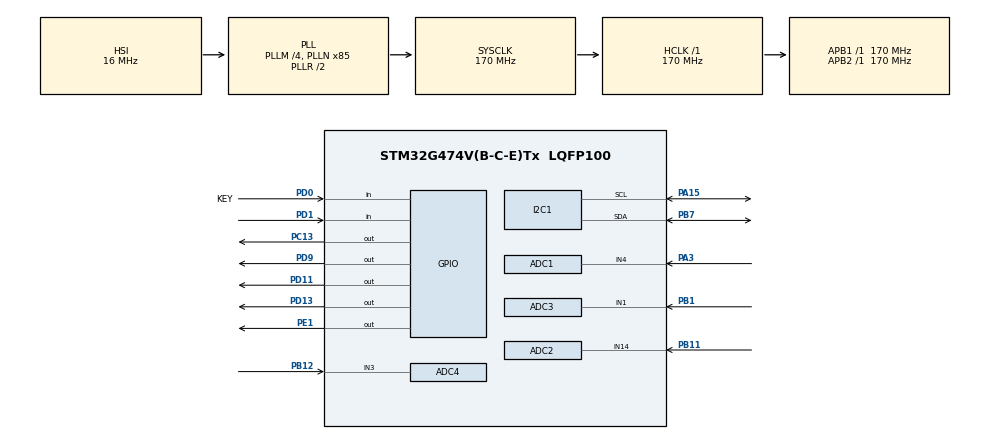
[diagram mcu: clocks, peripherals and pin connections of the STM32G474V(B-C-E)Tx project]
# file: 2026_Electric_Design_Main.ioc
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ADC1.Channel-0\#ChannelRegularConversion=ADC_CHANNEL_4
ADC1.ContinuousConvMode=DISABLE
ADC1.DMAContinuousRequests=ENABLE
ADC1.NbrOfConversionFlag=1
ADC1.OffsetNumber-0\#ChannelRegularConversion=ADC_OFFSET_NONE
ADC1.Rank-0\#ChannelRegularConversion=1
ADC1.SamplingTime-0\#ChannelRegularConversion=ADC_SAMPLETIME_2CYCLES_5
ADC1.master=1
ADC2.Channel-0\#ChannelRegularConversion=ADC_CHANNEL_14
ADC2.ContinuousConvMode=DISABLE
ADC2.DMAContinuousRequests=ENABLE
ADC2.NbrOfConversionFlag=1
ADC2.OffsetNumber-0\#ChannelRegularConversion=ADC_OFFSET_NONE
ADC2.Rank-0\#ChannelRegularConversion=1
ADC2.SamplingTime-0\#ChannelRegularConversion=ADC_SAMPLETIME_2CYCLES_5
ADC3.Channel-0\#ChannelRegularConversion=ADC_CHANNEL_1
ADC3.ContinuousConvMode=DISABLE
ADC3.DMAContinuousRequests=ENABLE
ADC3.NbrOfConversionFlag=1
ADC3.OffsetNumber-0\#ChannelRegularConversion=ADC_OFFSET_NONE
ADC3.Rank-0\#ChannelRegularConversion=1
ADC3.SamplingTime-0\#ChannelRegularConversion=ADC_SAMPLETIME_2CYCLES_5
ADC3.master=1
ADC4.Channel-0\#ChannelRegularConversion=ADC_CHANNEL_3
ADC4.DMAContinuousRequests=ENABLE
ADC4.NbrOfConversionFlag=1
ADC4.OffsetNumber-0\#ChannelRegularConversion=ADC_OFFSET_NONE
ADC4.Rank-0\#ChannelRegularConversion=1
ADC4.SamplingTime-0\#ChannelRegularConversion=ADC_SAMPLETIME_2CYCLES_5
Dma.ADC1.0.Direction=DMA_PERIPH_TO_MEMORY
Dma.ADC1.0.EventEnable=DISABLE
Dma.ADC1.0.Instance=DMA1_Channel1
Dma.ADC1.0.MemDataAlignment=DMA_MDATAALIGN_HALFWORD
Dma.ADC1.0.MemInc=DMA_MINC_ENABLE
Dma.ADC1.0.Mode=DMA_CIRCULAR
Dma.ADC1.0.PeriphDataAlignment=DMA_PDATAALIGN_HALFWORD
Dma.ADC1.0.PeriphInc=DMA_PINC_DISABLE
Dma.ADC1.0.Polarity=HAL_DMAMUX_REQ_GEN_RISING
Dma.ADC1.0.Priority=DMA_PRIORITY_LOW
Dma.ADC1.0.RequestNumber=1
Dma.ADC1.0.SignalID=NONE
Dma.ADC1.0.SyncEnable=DISABLE
Dma.ADC1.0.SyncPolarity=HAL_DMAMUX_SYNC_NO_EVENT
Dma.ADC1.0.SyncRequestNumber=1
Dma.ADC1.0.SyncSignalID=NONE
Dma.ADC2.1.Direction=DMA_PERIPH_TO_MEMORY
Dma.ADC2.1.EventEnable=DISABLE
Dma.ADC2.1.Instance=DMA1_Channel2
Dma.ADC2.1.MemDataAlignment=DMA_MDATAALIGN_HALFWORD
Dma.ADC2.1.MemInc=DMA_MINC_ENABLE
Dma.ADC2.1.Mode=DMA_CIRCULAR
Dma.ADC2.1.PeriphDataAlignment=DMA_PDATAALIGN_HALFWORD
Dma.ADC2.1.PeriphInc=DMA_PINC_DISABLE
Dma.ADC2.1.Polarity=HAL_DMAMUX_REQ_GEN_RISING
Dma.ADC2.1.Priority=DMA_PRIORITY_LOW
Dma.ADC2.1.RequestNumber=1
Dma.ADC2.1.SignalID=NONE
Dma.ADC2.1.SyncEnable=DISABLE
Dma.ADC2.1.SyncPolarity=HAL_DMAMUX_SYNC_NO_EVENT
Dma.ADC2.1.SyncRequestNumber=1
Dma.ADC2.1.SyncSignalID=NONE
Dma.ADC3.2.Direction=DMA_PERIPH_TO_MEMORY
Dma.ADC3.2.EventEnable=DISABLE
Dma.ADC3.2.Instance=DMA1_Channel3
Dma.ADC3.2.MemDataAlignment=DMA_MDATAALIGN_HALFWORD
Dma.ADC3.2.MemInc=DMA_MINC_ENABLE
Dma.ADC3.2.Mode=DMA_CIRCULAR
Dma.ADC3.2.PeriphDataAlignment=DMA_PDATAALIGN_HALFWORD
Dma.ADC3.2.PeriphInc=DMA_PINC_DISABLE
Dma.ADC3.2.Polarity=HAL_DMAMUX_REQ_GEN_RISING
Dma.ADC3.2.Priority=DMA_PRIORITY_LOW
Dma.ADC3.2.RequestNumber=1
Dma.ADC3.2.SignalID=NONE
Dma.ADC3.2.SyncEnable=DISABLE
Dma.ADC3.2.SyncPolarity=HAL_DMAMUX_SYNC_NO_EVENT
Dma.ADC3.2.SyncRequestNumber=1
Dma.ADC3.2.SyncSignalID=NONE
Dma.ADC4.3.Direction=DMA_PERIPH_TO_MEMORY
Dma.ADC4.3.EventEnable=DISABLE
Dma.ADC4.3.Instance=DMA1_Channel4
Dma.ADC4.3.MemDataAlignment=DMA_MDATAALIGN_HALFWORD
Dma.ADC4.3.MemInc=DMA_MINC_ENABLE
Dma.ADC4.3.Mode=DMA_CIRCULAR
Dma.ADC4.3.PeriphDataAlignment=DMA_PDATAALIGN_HALFWORD
Dma.ADC4.3.PeriphInc=DMA_PINC_DISABLE
Dma.ADC4.3.Polarity=HAL_DMAMUX_REQ_GEN_RISING
Dma.ADC4.3.Priority=DMA_PRIORITY_LOW
Dma.ADC4.3.RequestNumber=1
Dma.ADC4.3.SignalID=NONE
Dma.ADC4.3.SyncEnable=DISABLE
Dma.ADC4.3.SyncPolarity=HAL_DMAMUX_SYNC_NO_EVENT
Dma.ADC4.3.SyncRequestNumber=1
Dma.ADC4.3.SyncSignalID=NONE
Dma.Request0=ADC1
Dma.Request1=ADC2
Dma.Request2=ADC3
Dma.Request3=ADC4
FREERTOS.Tasks01=defaultTask,0,128,StartDefaultTask,Default,NULL,Dynamic,NULL,NULL;Key,-3,128,Key_Scan,Default,NULL,Dynamic,NULL,NULL;Data_Fuction,-3,128,Data,Default,NULL,Dynamic,NULL,NULL
I2C1.Timing=0x40B285C2
Mcu.Family=STM32G4
Mcu.Name=STM32G474V(B-C-E)Tx
Mcu.Package=LQFP100
NVIC.DMA1_Channel1_IRQn=true\:5\:0\:false\:false\:true\:true\:false\:true\:true
NVIC.DMA1_Channel2_IRQn=true\:5\:0\:false\:false\:true\:true\:false\:true\:true
NVIC.DMA1_Channel3_IRQn=true\:5\:0\:false\:false\:true\:true\:false\:true\:true
NVIC.DMA1_Channel4_IRQn=true\:5\:0\:false\:false\:true\:true\:false\:true\:true
NVIC.PriorityGroup=NVIC_PRIORITYGROUP_4
NVIC.TIM1_UP_TIM16_IRQn=true\:15\:0\:false\:false\:true\:false\:false\:true\:true
NVIC.TimeBase=TIM1_UP_TIM16_IRQn
NVIC.TimeBaseIP=TIM1
PA13.Mode=Serial_Wire
PA13.Signal=SYS_JTMS-SWDIO
PA14.Mode=Serial_Wire
PA14.Signal=SYS_JTCK-SWCLK
PA15.Mode=I2C
PA15.Signal=I2C1_SCL
PA3.Mode=IN4-Single-Ended
PA3.Signal=ADC1_IN4
PB1.Mode=IN1-Single-Ended
PB1.Signal=ADC3_IN1
PB11.Mode=IN14-Single-Ended
PB11.Signal=ADC2_IN14
PB12.Mode=IN3-Single-Ended
PB12.Signal=ADC4_IN3
PB7.Mode=I2C
PB7.Signal=I2C1_SDA
PC13.Signal=GPIO_Output
PD0.GPIO_Label=KEY
PD0.Signal=GPIO_Input
PD1.Signal=GPIO_Input
PD11.Signal=GPIO_Output
PD13.Signal=GPIO_Output
PD9.Signal=GPIO_Output
PE1.Signal=GPIO_Output
PF0-OSC_IN.Mode=HSE-External-Oscillator
PF0-OSC_IN.Signal=RCC_OSC_IN
PF1-OSC_OUT.Mode=HSE-External-Oscillator
PF1-OSC_OUT.Signal=RCC_OSC_OUT
ProjectManager.HeapSize=0x200
ProjectManager.StackSize=0x400
ProjectManager.TargetToolchain=EWARM V8.50
RCC.ADC12Freq_Value=170000000
RCC.ADC345Freq_Value=170000000
RCC.AHBFreq_Value=170000000
RCC.APB1Freq_Value=170000000
RCC.APB1TimFreq_Value=170000000
RCC.APB2Freq_Value=170000000
RCC.APB2TimFreq_Value=170000000
RCC.CortexFreq_Value=170000000
RCC.EXTERNAL_CLOCK_VALUE=12288000
RCC.HCLKFreq_Value=170000000
RCC.HSE_VALUE=8000000
RCC.HSI48_VALUE=48000000
RCC.HSI_VALUE=16000000
RCC.LSE_VALUE=32768
RCC.PLLM=RCC_PLLM_DIV4
RCC.PLLN=85
RCC.SYSCLKFreq_VALUE=170000000
RCC.SYSCLKSource=RCC_SYSCLKSOURCE_PLLCLK
RCC.USBFreq_Value=170000000
RCC.VCOOutputFreq_Value=340000000
VP_FREERTOS_VS_CMSIS_V1.Mode=CMSIS_V1
VP_SYS_VS_DBSignals.Mode=DisableDeadBatterySignals
VP_SYS_VS_tim1.Mode=TIM1
board=custom

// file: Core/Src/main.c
/* USER CODE BEGIN Header */
/**
  ******************************************************************************
  * @file           : main.c
  * @brief          : Main program body
  ******************************************************************************
  * @attention
  *
  * Copyright (c) 2026 STMicroelectronics.
  * All rights reserved.
  *
  * This software is licensed under terms that can be found in the LICENSE file
  * in the root directory of this software component.
  * If no LICENSE file comes with this software, it is provided AS-IS.
  *
  ******************************************************************************
  */
/* USER CODE END Header */
#include "main.h"
#include "cmsis_os.h"
#include "adc.h"
#include "dma.h"
#include "i2c.h"
#include "gpio.h"

/* USER CODE BEGIN Includes */
#include "oled.h"
#include "user.h"
/* USER CODE END Includes */

/* USER CODE BEGIN PV */
uint8_t mode = 0;
uint8_t v_mode = 0;
uint8_t r_mode = 0;

uint32_t v20 = 0;
float v20_true = 0;
uint32_t v20_sum = 0;

float v2_true = 0;
uint32_t v2 = 0;
uint32_t v2_sum = 0;

uint8_t start = 0;

uint32_t r = 0;
uint32_t r_sum = 0;
float r_true = 0;

float two_true = 0;
uint32_t two = 0;
uint32_t two_sum = 0;

uint32_t v20_AC[1000] = {0};
uint32_t v2_AC[1000] = {0};

/* USER CODE END PV */

void SystemClock_Config(void);
void MX_FREERTOS_Init(void);

int main(void)
{

  /* MCU Configuration--------------------------------------------------------*/

  /* Reset of all peripherals, Initializes the Flash interface and the Systick. */
  HAL_Init();

  /* Configure the system clock */
  SystemClock_Config();

  /* Initialize all configured peripherals */
  MX_GPIO_Init();
  MX_DMA_Init();
  MX_ADC1_Init();
  MX_ADC2_Init();
  MX_ADC3_Init();
  MX_ADC4_Init();
  MX_I2C1_Init();
  /* USER CODE BEGIN 2 */

  // while(!start){
  //   start = HAL_GPIO_ReadPin(GPIOD, GPIO_PIN_1);
  // }

  OLED_Init();

  OLED_Clear();
  OLED_ColorTurn(1);

  OLED_ShowChinese(0, 0, 35, 16);
  OLED_ShowChinese(17, 0, 36, 16);
  OLED_ShowChinese(34, 0, 37, 16);
  OLED_ShowChinese(51, 0, 38, 16);
  OLED_ShowChinese(68, 0, 39, 16);
  OLED_Refresh_Gram();
  OLED_ShowChinese(0, 40, 33, 16);
  OLED_ShowChinese(17, 40, 34, 16);
  show_int(38,40,25251116,16);
  OLED_Refresh_Gram();

  HAL_Delay(2000);
  OLED_Clear();
  Mode_show();

  HAL_GPIO_WritePin(GPIOE, GPIO_PIN_1,0);

  HAL_Delay(100);
  // //HAL_GPIO_WritePin(GPIOC, GPIO_PIN_13,1); // 切换成20V档

  /* USER CODE END 2 */

  /* Call init function for freertos objects (in cmsis_os2.c) */
  MX_FREERTOS_Init();

  /* Start scheduler */
  osKernelStart();

  /* We should never get here as control is now taken by the scheduler */

  /* Infinite loop */
  while (1)
  {

  }
}

void SystemClock_Config(void)
{
  RCC_OscInitTypeDef RCC_OscInitStruct = {0};
  RCC_ClkInitTypeDef RCC_ClkInitStruct = {0};

  /** Configure the main internal regulator output voltage
  */
  HAL_PWREx_ControlVoltageScaling(PWR_REGULATOR_VOLTAGE_SCALE1_BOOST);

  /** Initializes the RCC Oscillators according to the specified parameters
  * in the RCC_OscInitTypeDef structure.
  */
  RCC_OscInitStruct.OscillatorType = RCC_OSCILLATORTYPE_HSI;
  RCC_OscInitStruct.HSIState = RCC_HSI_ON;
  RCC_OscInitStruct.HSICalibrationValue = RCC_HSICALIBRATION_DEFAULT;
  RCC_OscInitStruct.PLL.PLLState = RCC_PLL_ON;
  RCC_OscInitStruct.PLL.PLLSource = RCC_PLLSOURCE_HSI;
  RCC_OscInitStruct.PLL.PLLM = RCC_PLLM_DIV4;
  RCC_OscInitStruct.PLL.PLLN = 85;
  RCC_OscInitStruct.PLL.PLLP = RCC_PLLP_DIV2;
  RCC_OscInitStruct.PLL.PLLQ = RCC_PLLQ_DIV2;
  RCC_OscInitStruct.PLL.PLLR = RCC_PLLR_DIV2;
  if (HAL_RCC_OscConfig(&RCC_OscInitStruct) != HAL_OK)
  {
    Error_Handler();
  }

  /** Initializes the CPU, AHB and APB buses clocks
  */
  RCC_ClkInitStruct.ClockType = RCC_CLOCKTYPE_HCLK|RCC_CLOCKTYPE_SYSCLK
                              |RCC_CLOCKTYPE_PCLK1|RCC_CLOCKTYPE_PCLK2;
  RCC_ClkInitStruct.SYSCLKSource = RCC_SYSCLKSOURCE_PLLCLK;
  RCC_ClkInitStruct.AHBCLKDivider = RCC_SYSCLK_DIV1;
  RCC_ClkInitStruct.APB1CLKDivider = RCC_HCLK_DIV1;
  RCC_ClkInitStruct.APB2CLKDivider = RCC_HCLK_DIV1;

  if (HAL_RCC_ClockConfig(&RCC_ClkInitStruct, FLASH_LATENCY_4) != HAL_OK)
  {
    Error_Handler();
  }
}

void HAL_TIM_PeriodElapsedCallback(TIM_HandleTypeDef *htim)
{
  if (htim->Instance == TIM1)
  {
    HAL_IncTick();
  }
}

void Error_Handler(void)
{
  __disable_irq();
  while (1)
  {
  }
}

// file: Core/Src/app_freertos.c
/* USER CODE BEGIN Header */
/**
  ******************************************************************************
  * File Name          : app_freertos.c
  * Description        : Code for freertos applications
  ******************************************************************************
  * @attention
  *
  * Copyright (c) 2026 STMicroelectronics.
  * All rights reserved.
  *
  * This software is licensed under terms that can be found in the LICENSE file
  * in the root directory of this software component.
  * If no LICENSE file comes with this software, it is provided AS-IS.
  *
  ******************************************************************************
  */
/* USER CODE END Header */

#include "FreeRTOS.h"
#include "task.h"
#include "main.h"
#include "cmsis_os.h"

/* USER CODE BEGIN Includes */
#include "user.h"
#include "adc.h"
#include "oled.h"
#include "math.h"
/* USER CODE END Includes */

/* USER CODE BEGIN PM */
uint32_t key_time = 0;
KeyState_t key_state = KEY_IDLE;
uint8_t current_key;
uint32_t e = 0;
uint32_t y = 0;
uint32_t x = 0;
uint32_t l =0;
uint32_t g = 0;
float Rk_table[4] = {100.0f, 1000.0f, 10000.0f, 100000.0f};
uint64_t sum = 0;
int32_t temp;
double adc_rms;
/* USER CODE END PM */

osThreadId defaultTaskHandle;
osThreadId KeyHandle;
osThreadId Data_FuctionHandle;

void StartDefaultTask(void const * argument);
void Key_Scan(void const * argument);
void Data(void const * argument);

void MX_FREERTOS_Init(void); /* (MISRA C 2004 rule 8.1) */

void MX_FREERTOS_Init(void) {

  /* Create the thread(s) */
  /* definition and creation of defaultTask */
  osThreadDef(defaultTask, StartDefaultTask, osPriorityNormal, 0, 128);
  defaultTaskHandle = osThreadCreate(osThread(defaultTask), NULL);

  /* definition and creation of Key */
  osThreadDef(Key, Key_Scan, osPriorityIdle, 0, 128);
  KeyHandle = osThreadCreate(osThread(Key), NULL);

  /* definition and creation of Data_Fuction */
  osThreadDef(Data_Fuction, Data, osPriorityIdle, 0, 128);
  Data_FuctionHandle = osThreadCreate(osThread(Data_Fuction), NULL);

}

void StartDefaultTask(void const * argument)
{
  for(;;)
  {
    osDelay(1);
  }
}

void Key_Scan(void const * argument)
{
  /* USER CODE BEGIN Key_Scan */
  /* Infinite loop */
  for(;;)
  {
    uint8_t key_flag = 0;//没有按键变化

    static uint8_t last_key = 0;   // 默认上拉输入，1=松开

    uint32_t now = HAL_GetTick();

    current_key = HAL_GPIO_ReadPin(KEY_GPIO_Port, KEY_Pin);

    switch(key_state)
    {
        case KEY_IDLE:
            // 检测按下瞬间
            if(current_key == 1 && last_key == 0)
            {
                key_time = now;          // 记录按下时间
                key_state = KEY_PRESS;   // 进入按下状态
            }
            break;

        case KEY_PRESS:
            // 消抖
            if(now - key_time < DEBOUNCE_TIME)
                break;

            if(current_key == 1)
            {
              // 判断是否达到长按时间
              if(now - key_time >= LONG_PRESS_TIME)
              {
                  if(mode == 4)
                  {
                    mode = 0;
                  }
                  else
                  {
                    mode++;
                  }
                  // 长按动作
                  key_flag = 1;
                  key_state = KEY_LONG;
              }
            }
            else
            {
                // 松开，并且未达到长按
              if(mode == 1||mode == 2||mode == 5)
              {
                if(v_mode == 1)
                {
                  v_mode = 0;
                }
                else
                {
                  v_mode = 1;
                }
              }
              if(mode == 3)
              {
                if(r_mode == 3)
                {
                  r_mode = 0;
                }
                else
                {
                  r_mode++;
                }
              }
              // 短按动作
              key_flag = 1;
              key_state = KEY_IDLE;
            }
            break;

        case KEY_LONG:
            // 长按已经触发，只等松开
            if(current_key == 0)
            {
                key_state = KEY_IDLE;
            }
            break;
    }

    last_key = current_key;

    if(key_flag == 1)
    {
      key_flag = 0;
      Mode_show();
    }

    //Mode_show();
    osDelay(1);
  }
  /* USER CODE END Key_Scan */
}

void Data(void const * argument)
{
  /* USER CODE BEGIN Data */

  /* Infinite loop */
  for(;;)
  {
    if(mode == 1||mode == 5){
      if(v_mode == 0){

        HAL_GPIO_WritePin(GPIOC, GPIO_PIN_13,1);//20V档
        HAL_ADC_Start_DMA(&hadc1, &v20, 1);//20V
        v20_sum += v20;
        e++;
        if(e >= 1999){
          OLED_Fill(60,50,92,63,0);  //清空区域
          v20 = v20_sum / 2000;
          e = 0;
          v20_sum = 0;
          v20_true = (float)v20 * 40.0f / 4096.0f - 20.0f;
          v20_true = v20_true + 0.25f;
          if(v20_true > 19.99f){
            v20_true = 19.99f;
          }
          if(v20_true < -19.99f){
            v20_true = -19.99f;
          }
          show_float(60,50,v20_true,12, 2);
        }
      }
      else if(v_mode == 1){
        HAL_GPIO_WritePin(GPIOC, GPIO_PIN_13,0);//2V档
        HAL_ADC_Start_DMA(&hadc2, &v2, 1);//2V
        v2_sum += v2;
        y++;
        if(y >= 1999){
          OLED_Fill(60,50,92,63,0);  //清空区域
          v2 = v2_sum / 2000;
          y = 0;
          v2_sum = 0;
          v2_true = (float)v2 * 4.0f / 4096.0f - 2.0f;
          v2_true = v2_true + 0.02;
          if(v2_true > 1.999f){
            v2_true = 1.999f;
          }
          if(v2_true < -1.999f){
            v2_true = -1.999f;
          }
          show_float(60,50,v2_true,12, 3);
        }
      }
    }

    if(mode == 3){        //r档
      if(r_mode == 0){   //100
        HAL_GPIO_WritePin(GPIOD, GPIO_PIN_9,0);
        HAL_GPIO_WritePin(GPIOD, GPIO_PIN_11,0);
        HAL_GPIO_WritePin(GPIOD, GPIO_PIN_13,0);
      }
      else if(r_mode == 1){   //1k
        HAL_GPIO_WritePin(GPIOD, GPIO_PIN_9,1);
        HAL_GPIO_WritePin(GPIOD, GPIO_PIN_11,0);
        HAL_GPIO_WritePin(GPIOD, GPIO_PIN_13,0);
      }
      else if(r_mode == 2){   //10k
        HAL_GPIO_WritePin(GPIOD, GPIO_PIN_9,0);
        HAL_GPIO_WritePin(GPIOD, GPIO_PIN_11,1);
        HAL_GPIO_WritePin(GPIOD, GPIO_PIN_13,0);
      }
      else if(r_mode == 3){   //100k
        HAL_GPIO_WritePin(GPIOD, GPIO_PIN_9,1);
        HAL_GPIO_WritePin(GPIOD, GPIO_PIN_11,1);
        HAL_GPIO_WritePin(GPIOD, GPIO_PIN_13,0);
      }
      HAL_ADC_Start_DMA(&hadc3, &r, 1);
      x++;
      r_sum += r;
      if(x >= 99){
        OLED_Fill(60,50,92,63,0);  //清空区域
        r = r_sum / 100;
        x = 0;
        r_sum = 0;
        if(r >= 3800){
          r = 3799.9999;
        }
        r_true = (float)Rk_table[r_mode] * (float)r / (3800.0f - (float)r);
        if(r >= 3700){
          r_true = 0;
        }
        if(r_mode == 0){   //100
          if(r_true > 199.9){
            r_true = 199.9;
          }
          show_float(60,50,r_true,12, 1);
        }
        else if(r_mode == 1){   //1k
          r_true = r_true / 1000;
          if(r_true > 1.999){
            r_true = 1.999;
          }
          show_float(60,50,r_true,12, 3);
        }
        else if(r_mode == 2){   //10k
          r_true = r_true / 1000;
          if(r_true > 19.99){
            r_true = 19.99;
          }
          show_float(60,50,r_true,12, 2);
        }
        else if(r_mode == 3){   //100k
          r_true = r_true / 1000;
          if(r_true > 199.9){
            r_true = 199.9;
          }
          show_float(60,50,r_true,12, 1);
        }
      }
    }

    if(mode == 4){      //蜂鸣档
      HAL_GPIO_WritePin(GPIOD, GPIO_PIN_9,0);
      HAL_GPIO_WritePin(GPIOD, GPIO_PIN_11,0);
      HAL_GPIO_WritePin(GPIOD, GPIO_PIN_13,1);
      HAL_ADC_Start_DMA(&hadc3, &r, 1);
      x++;
      r_sum += r;
      if(x >= 99){
        r = r_sum / 100;
        x = 0;
        r_sum = 0;
        if(r >= 3800){
          r = 3799.9999;
        }
        r_true = 10.0f * r / (3800.0f - r);
        if(r_true < 10){
          OLED_Fill(60,48,92,63,0);  //清空区域
          OLED_ShowChinese(60, 48, 26, 16);
          OLED_ShowChinese(77, 48, 27, 16);
        }else{
          OLED_Fill(60,48,92,63,0);  //清空区域
          OLED_ShowChinese(60, 48, 29, 16);
          OLED_ShowChinese(77, 48, 30, 16);
        }
        OLED_Refresh_Gram();
      }
    }

    if(mode == 0){      //二极管档
      HAL_ADC_Start_DMA(&hadc4, &two, 1);
        two_sum += two;
        l++;
        if(l >= 999){
          OLED_Fill(60,50,92,63,0);  //清空区域
          two = two_sum / 1000;
          l = 0;
          two_sum = 0;
          two_true = (float)two * 3.3f / 4095.0f;
          two_true = two_true * 1000;
          if(two_true > 3100){
            OLED_Fill(60,48,92,63,0);  //清空区域
            OLED_ShowChinese(60, 48, 31, 16);
            OLED_ShowChinese(77, 48, 32, 16);
            OLED_Refresh_Gram();
          }else{
            OLED_Fill(60,48,92,63,0);  //清空区域
            show_float(60,50,two_true,12, 0);
          }
        }
    }

    if(mode == 2){
      if(v_mode == 0){
        HAL_GPIO_WritePin(GPIOC, GPIO_PIN_13,1);//20V档
        HAL_ADC_Start_DMA(&hadc1, &v20, 1);//20V
        v20_AC[g] = v20;
        if(g == 999){
          g = 0;
        sum = 0;
        uint32_t f = 0;
        for(int i = 0; i < 1000; i++){
          temp = v20_AC[i] - 2000;   // 去直流偏置
          sum += temp * temp;        // 平方
          if(temp < 0){
            f++;
          }
        }

        adc_rms = sqrt((double)sum / 1000);
        v20_true = (float)adc_rms * 40.0f / 4096.0f;
        if(f>500){
          v20_true = v20_true + 0.35f;
        }else{
          v20_true = v20_true - 0.25f;
        }
        show_float(60,50,v20_true,12, 2);
        }else{
          g++;
        }
      }
      else if(v_mode == 1){
        HAL_GPIO_WritePin(GPIOC, GPIO_PIN_13,0);//2V档
        HAL_ADC_Start_DMA(&hadc2, &v2, 1);//2V
        v2_AC[g] = v2;
        if(g == 999){
          g = 0;
        sum = 0;
        uint32_t f = 0;
        for(int i = 0; i < 1000; i++){
          temp = v2_AC[i] - 2000;   // 去直流偏置
          sum += temp * temp;        // 平方
          if(temp < 0){
            f++;
          }
        }
        adc_rms = sqrt((double)sum / 1000);
        v2_true = (float)adc_rms * 4.0f / 4096.0f;
        if(f>500){
          v2_true = v2_true - 0.035f;
        }else{
          v2_true = v2_true + 0.025f;
        }
        show_float(60,50,v2_true,12, 3);
        }else{
          g++;
        }
      }
    }

    osDelay(1);
  }
  /* USER CODE END Data */
}
